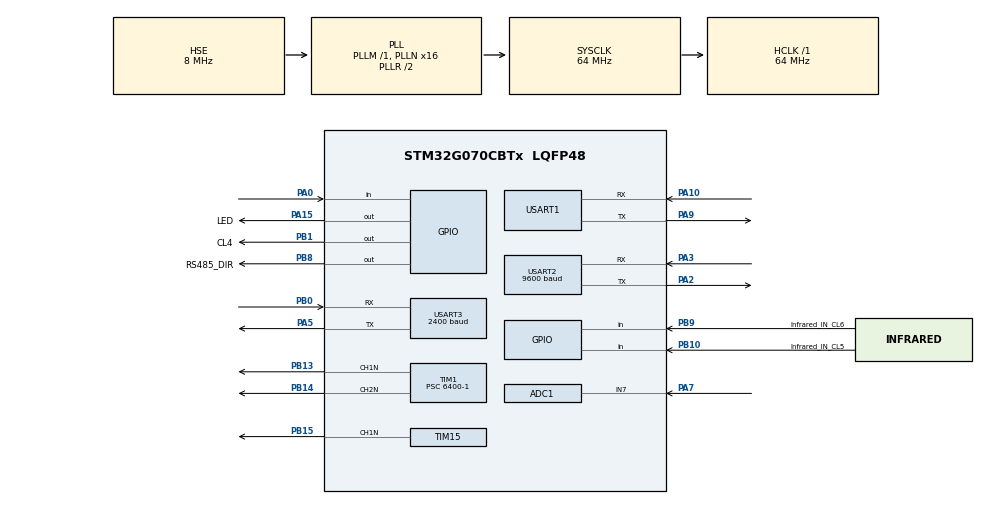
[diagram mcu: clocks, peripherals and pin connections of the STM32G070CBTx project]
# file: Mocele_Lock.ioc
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ADC1.Channel-0\#ChannelRegularConversion=ADC_CHANNEL_7
ADC1.NbrOfConversionFlag=1
ADC1.Rank-0\#ChannelRegularConversion=1
ADC1.SamplingTime-0\#ChannelRegularConversion=ADC_SAMPLINGTIME_COMMON_1
ADC1.SelectedChannel=ADC_CHANNEL_7
ADC1.master=1
FREERTOS.Tasks01=defaultTask,-3,128,IWDG_Task,Default,NULL,Dynamic,NULL,NULL;myTask02,0,128,Main_Task,Default,NULL,Dynamic,NULL,NULL;myTask03,2,200,WuXian_Task,Default,NULL,Dynamic,NULL,NULL;myTask04,1,200,Abnormal_Handle_Task,Default,NULL,Dynamic,NULL,NULL;myTask05,-2,128,BEEP_Task,Default,NULL,Dynamic,NULL,NULL
FREERTOS.configTOTAL_HEAP_SIZE=6144
IWDG.Prescaler=IWDG_PRESCALER_64
IWDG.Reload=2000
Mcu.Family=STM32G0
Mcu.Name=STM32G070CBTx
Mcu.Package=LQFP48
NVIC.ADC1_IRQn=true\:3\:0\:false\:false\:true\:true\:true\:true\:true
NVIC.TIM3_IRQn=true\:3\:0\:false\:false\:true\:false\:false\:true\:true
NVIC.TIM6_IRQn=true\:3\:0\:false\:false\:true\:true\:true\:true\:true
NVIC.TimeBase=TIM3_IRQn
NVIC.TimeBaseIP=TIM3
NVIC.USART2_IRQn=true\:3\:0\:false\:false\:true\:true\:true\:true\:true
NVIC.USART3_4_IRQn=true\:3\:0\:false\:false\:true\:true\:true\:true\:true
PA0.GPIO_PuPd=GPIO_PULLDOWN
PA0.Signal=GPIO_Input
PA10.Mode=Asynchronous
PA10.Signal=USART1_RX
PA13.Mode=Serial_Wire
PA13.Signal=SYS_SWDIO
PA14-BOOT0.Mode=Serial_Wire
PA14-BOOT0.Signal=SYS_SWCLK
PA15.GPIO_Label=LED
PA15.GPIO_Speed=GPIO_SPEED_FREQ_MEDIUM
PA15.PinState=GPIO_PIN_RESET
PA15.Signal=GPIO_Output
PA2.Mode=Asynchronous
PA2.Signal=USART2_TX
PA3.Mode=Asynchronous
PA3.Signal=USART2_RX
PA5.Mode=Asynchronous
PA5.Signal=USART3_TX
PA7.Mode=IN7
PA7.Signal=ADC1_IN7
PA9.Mode=Asynchronous
PA9.Signal=USART1_TX
PB0.Mode=Asynchronous
PB0.Signal=USART3_RX
PB1.GPIO_Label=CL4
PB1.GPIO_Speed=GPIO_SPEED_FREQ_HIGH
PB1.PinState=GPIO_PIN_SET
PB1.Signal=GPIO_Output
PB10.GPIO_Label=Infrared_IN_CL5
PB10.Signal=GPIO_Input
PB13.Mode=PWM Generation1 CH1N
PB13.Signal=TIM1_CH1N
PB14.Mode=PWM Generation2 CH2N
PB14.Signal=TIM1_CH2N
PB15.Mode=PWM Generation1 CH1N
PB15.Signal=TIM15_CH1N
PB8.GPIO_Label=RS485_DIR
PB8.GPIO_Speed=GPIO_SPEED_FREQ_HIGH
PB8.Signal=GPIO_Output
PB9.GPIO_Label=Infrared_IN_CL6
PB9.Signal=GPIO_Input
PF0-OSC_IN\ (PF0).Mode=HSE-External-Oscillator
PF0-OSC_IN\ (PF0).Signal=RCC_OSC_IN
PF1-OSC_OUT\ (PF1).Mode=HSE-External-Oscillator
PF1-OSC_OUT\ (PF1).Signal=RCC_OSC_OUT
ProjectManager.HeapSize=0x200
ProjectManager.StackSize=0x400
ProjectManager.TargetToolchain=MDK-ARM V5.32
RCC.ADCFreq_Value=64000000
RCC.AHBFreq_Value=64000000
RCC.APB1CLKDivider=RCC_HCLK_DIV2
RCC.CortexFreq_Value=64000000
RCC.EXTERNAL_CLOCK_VALUE=48000
RCC.HCLKFreq_Value=64000000
RCC.HSE_VALUE=8000000
RCC.HSI_VALUE=16000000
RCC.LSE_VALUE=32768
RCC.PLLN=16
RCC.PLLSourceVirtual=RCC_PLLSOURCE_HSE
RCC.SYSCLKFreq_VALUE=64000000
RCC.SYSCLKSource=RCC_SYSCLKSOURCE_PLLCLK
RCC.VCOOutputFreq_Value=128000000
TIM1.AutoReloadPreload=TIM_AUTORELOAD_PRELOAD_ENABLE
TIM1.Channel-PWM\ Generation1\ CH1N=TIM_CHANNEL_1
TIM1.Channel-PWM\ Generation2\ CH2N=TIM_CHANNEL_2
TIM1.Period=100-1
TIM1.Prescaler=6400-1
TIM15.Channel-PWM\ Generation1\ CH1N=TIM_CHANNEL_1
TIM15.Period=1000-1
TIM15.Prescaler=64-1
TIM6.Period=10000-1
TIM6.Prescaler=64-1
USART1.VirtualMode-Asynchronous=VM_ASYNC
USART2.BaudRate=9600
USART2.Parity=PARITY_NONE
USART2.VirtualMode-Asynchronous=VM_ASYNC
USART3.BaudRate=2400
USART3.Parity=PARITY_NONE
USART3.VirtualMode-Asynchronous=VM_ASYNC
USART3.WordLength=WORDLENGTH_8B
VP_FREERTOS_VS_CMSIS_V1.Mode=CMSIS_V1
VP_IWDG_VS_IWDG.Mode=IWDG_Activate
VP_SYS_VS_DBSignals.Mode=DisableDeadBatterySignals
VP_SYS_VS_tim3.Mode=TIM3
VP_TIM15_VS_ClockSourceINT.Mode=Internal
VP_TIM1_VS_ClockSourceINT.Mode=Internal
VP_TIM6_VS_ClockSourceINT.Mode=Enable_Timer
board=custom

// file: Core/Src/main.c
/* USER CODE BEGIN Header */
/*
程序名：地锁程序设计
硬件资源：1.主控芯片（G070VBT6），电机驱动芯片（SA8321），测距芯片（RCWL-1655，RCWL-9631，AJ-SR04），电机位置状态监测（红外），通信[无线通信（433M_A），有线通信（RS485）]
主控芯片资源分配：①调试：USART1（PA9,PA10）打印调试信息②指示：指示灯[LED]（PA15）[高电平有效]，蜂鸣器[BEEP]（PB15）[高电平有效]
									③监测：
									1)红外检测电机位置状态：持续检测输出高电平[CL5（PB10）,CL6（PB9）]，输出引脚电平[CL4（PB1）]
									2)测距模块检测车是否离开：USART2（PA2，PA3）[波特率9600]
									④控制：控制地锁的开启，关闭，停止[INA（PB13），INB(PB14)]（PWM）
									⑤通信：
									1)无线通信[SPI][433M_A][SCLK1（PA0），RST(PA1)，MISO1(PB2)，MOSI1（PB11），NSS1（PB12）][SW_CTL1（PB3），SW_CTL2（PB4），BUSY1（PB5），DIO1（PB6），DIO2（PB7）]
									2)有线通信USART3[RX485][RX（PB0），TX（PA5），DIR（PB8）]
									⑥其他：通用定时器（计时），中断
软件程序设计：
(1)程序预期实现效果：
①通过某种通信方式（有线或者无线）接收充电桩下发的指令，根据充电桩下发指令执行相应的动作，并将执行结果上报给充电桩。
②当充电结束新能源汽车驶离后（或者车锁打开后长时间没有车辆进入）主动关闭车锁
③当车锁故障及时给出告警信息，并上报给充电桩
(2)程序实现思路：
①程序上电初始化。
②初始化完成之后，使用FREERTOS建立四个任务：分别为看门狗任务（任务优先级为最高，执行喂狗任务）[指示灯可放至此任务，标识程序是否跑飞]
                                                 异常处理任务（任务优先级仅次于看门狗，时刻监测判断上方是否有车辆覆盖，若无车辆覆盖等待3S则控制电机使车锁处于打开状态，标记车锁状态为打开，蜂鸣器提示归位。通信上报车锁状态。否则控制电机使车锁处于关闭状态，标记车锁状态为关闭，蜂鸣器提示归位。通信正常的时候上报车锁状态。如果车锁标记状态是关闭，并且没有接收到控制指令，监测到车锁状态变化，蜂鸣器给出报警提示，电机控制复位，复位完成报警解除）
																								 通信任务（通过无线或者有线的方式将接收的数据存放到一个数组。）[任务优先级最低]
																								 主函数（定时获取车锁状态，接收执行充电桩控制指令并执行，保持和充电桩的连接和通信）[任务优先级高于通信连接任务]
程序设计信息：
            1.版本V1.0
						2.编辑人：sibo
						3.完成日期：2022.07

*/
/* USER CODE END Header */
#include "main.h"
#include "cmsis_os.h"
#include "adc.h"
#include "iwdg.h"
#include "tim.h"
#include "usart.h"
#include "gpio.h"

/* USER CODE BEGIN Includes */
#include <stdio.h>
/* USER CODE END Includes */

/* USER CODE BEGIN PTD */
  uint8_t pDat;
	uint8_t Rxbuffer[RX3_MAX];
	uint8_t Rxbuffer_1[RX3_MAX_1];
	uint16_t Uart3RxCount=0;
	uint8_t shangdain_flog;
extern	Memory_TypeDef  Info;						           //地址，版本固件结构体
/* USER CODE END PTD */

/* USER CODE BEGIN PD */
extern volatile int32_t SysSec;
extern volatile int32_t SysSec_1;
uint8_t 	SecSend=0;		  //计时 心跳信号	发送
/* USER CODE END PD */

void SystemClock_Config(void);
void MX_FREERTOS_Init(void);

int main(void)
{

  /* MCU Configuration--------------------------------------------------------*/

  /* Reset of all peripherals, Initializes the Flash interface and the Systick. */
  HAL_Init();

  /* Configure the system clock */
  SystemClock_Config();

  /* Initialize all configured peripherals */
  MX_GPIO_Init();
  MX_IWDG_Init();
  MX_TIM6_Init();
  MX_USART1_UART_Init();
  MX_USART2_UART_Init();
  MX_USART3_UART_Init();
  MX_TIM1_Init();
  MX_TIM15_Init();
  MX_ADC1_Init();
  /* USER CODE BEGIN 2 */
  HAL_TIM_Base_Start_IT(&htim6);					    //使能Timer6中断
	HAL_TIMEx_PWMN_Start(&htim1,TIM_CHANNEL_1); //开启PWM通道1，电机驱动
	HAL_TIMEx_PWMN_Start(&htim1,TIM_CHANNEL_2); //开启PWM通道2，电机驱动
	HAL_TIMEx_PWMN_Start(&htim15,TIM_CHANNEL_1);//开启PWM通道3，BEEP
	Peripheral_Init();                          //初始化外设
	Fina();
  HAL_UARTEx_ReceiveToIdle_IT(&huart2,rx2buffer,RX2_MAX);
  TransceiverControl_DJSF1778_S(RECEIVE_FROM_DJSF1778_S);
//  HAL_UARTEx_ReceiveToIdle_IT(&huart3,rx3buffer,RX3_MAX);
  HAL_UART_Receive_IT(&huart3,&pDat,1);
	shangdain_flog=1;
	printf("上电\r\n");
  /* USER CODE END 2 */

  /* Call init function for freertos objects (in freertos.c) */
  MX_FREERTOS_Init();

  /* Start scheduler */
  osKernelStart();

  /* We should never get here as control is now taken by the scheduler */
  /* Infinite loop */
  while (1)
  {

  }
}

void SystemClock_Config(void)
{
  RCC_OscInitTypeDef RCC_OscInitStruct = {0};
  RCC_ClkInitTypeDef RCC_ClkInitStruct = {0};

  /** Configure the main internal regulator output voltage
  */
  HAL_PWREx_ControlVoltageScaling(PWR_REGULATOR_VOLTAGE_SCALE1);

  /** Initializes the RCC Oscillators according to the specified parameters
  * in the RCC_OscInitTypeDef structure.
  */
  RCC_OscInitStruct.OscillatorType = RCC_OSCILLATORTYPE_LSI|RCC_OSCILLATORTYPE_HSE;
  RCC_OscInitStruct.HSEState = RCC_HSE_ON;
  RCC_OscInitStruct.LSIState = RCC_LSI_ON;
  RCC_OscInitStruct.PLL.PLLState = RCC_PLL_ON;
  RCC_OscInitStruct.PLL.PLLSource = RCC_PLLSOURCE_HSE;
  RCC_OscInitStruct.PLL.PLLM = RCC_PLLM_DIV1;
  RCC_OscInitStruct.PLL.PLLN = 16;
  RCC_OscInitStruct.PLL.PLLP = RCC_PLLP_DIV2;
  RCC_OscInitStruct.PLL.PLLR = RCC_PLLR_DIV2;
  if (HAL_RCC_OscConfig(&RCC_OscInitStruct) != HAL_OK)
  {
    Error_Handler();
  }

  /** Initializes the CPU, AHB and APB buses clocks
  */
  RCC_ClkInitStruct.ClockType = RCC_CLOCKTYPE_HCLK|RCC_CLOCKTYPE_SYSCLK
                              |RCC_CLOCKTYPE_PCLK1;
  RCC_ClkInitStruct.SYSCLKSource = RCC_SYSCLKSOURCE_PLLCLK;
  RCC_ClkInitStruct.AHBCLKDivider = RCC_SYSCLK_DIV1;
  RCC_ClkInitStruct.APB1CLKDivider = RCC_HCLK_DIV2;

  if (HAL_RCC_ClockConfig(&RCC_ClkInitStruct, FLASH_LATENCY_2) != HAL_OK)
  {
    Error_Handler();
  }
}

/* USER CODE BEGIN 4 */

void RxScan(void)
{

	Rxbuffer[Uart3RxCount]=pDat;
	if(++Uart3RxCount>=RX3_MAX)  Uart3RxCount=0;

while(HAL_UART_Receive_IT(&huart3,&pDat,1)!=HAL_OK);
}// 重定向串口打印函数

int fputc(int ch, FILE *f)
{
  HAL_UART_Transmit(&huart1, (uint8_t *)&ch, 1, 0xffff);
  return ch;
}

void HAL_UART_RxCpltCallback(UART_HandleTypeDef *huart)
{
	if(huart->Instance ==USART3)
	{
//	  printf("进入中断函数\r\n");
		RxScan();
//		HAL_StatusTypeDef return_state;
//		return_state = HAL_UART_Receive_IT(&huart3,&pDat,1);
//		if(return_state == HAL_BUSY)
//		{
//
//			__HAL_UART_CLEAR_OREFLAG(&huart3);
//			huart3.RxState = HAL_UART_STATE_READY;
//			huart3.Lock=HAL_UNLOCKED;
//		  return_state=HAL_UART_Receive_IT(&huart3,&pDat,1);
//
//
//		}
	}
}

void HAL_UART_ErrorCallback(UART_HandleTypeDef *huart)
{
    /* Prevent unused argument(s) compilation warning */
    // UNUSED(huart);
    /* NOTE: This function should not be modified, when the callback is needed,
the HAL_UART_ErrorCallback could be implemented in the user file
*/
    if( huart->ErrorCode & HAL_UART_ERROR_ORE )//Overflow error
   {
       uint32_t temp = huart->Instance->ISR;
       temp = huart->Instance->RDR;
   }
}

uint8_t  Re485_Scan(void)
{
	uint8_t k=0;
	uint8_t FRAMEHEAD_address=0;
	uint8_t ReciveFirst=1;
	uint8_t i;
	uint8_t findflag=0;
	for(k=0;k<20;k++)
	{
		if((Rxbuffer[k]==0x55)&&(Rxbuffer[k+1]==Info.JIQIHAO))
		{
			if(ReciveFirst){
				ReciveFirst=0;
				FRAMEHEAD_address=k;
			}
			if(Uart3RxCount>=FRAMEHEAD_address+6)
			{
				findflag=1;
				Uart3RxCount=0;
				for(i=0;i<6;i++)
				{
					Rxbuffer_1[i]=Rxbuffer[i+FRAMEHEAD_address];
//					printf("Rxbuffer[%d]=%02x\r\n",i,Rxbuffer[i]);
				}
				for(i=0;i<20;i++)
				{
					Rxbuffer[i]=0;
				}
			}
			k=20;

		}

	}
	return 	findflag;
}
/* USER CODE END 4 */

void HAL_TIM_PeriodElapsedCallback(TIM_HandleTypeDef *htim)
{
  if (htim->Instance == TIM3) {
    HAL_IncTick();
  }
  /* USER CODE BEGIN Callback 1 */
  if (htim->Instance == TIM6){
	  static uint16_t count0=0;  				//函数内部变量10ms自动加1变量
		count0++;

		if(count0%10==0){ 					//每10ms

//			printf("Infrared_Detection()=%02x\r\n",Infrared_Detection());

		}
		if(count0%100==0){ 					//每s

			SysSec++;
			SysSec_1++;

		}
		if(count0>=6000)          //每min
      {
				count0=0;
				if(SecSend!=0xff)
				{
				SecSend++;
				}
			}
	}
  /* USER CODE END Callback 1 */
}

void Error_Handler(void)
{
  __disable_irq();
  while (1)
  {
  }
}

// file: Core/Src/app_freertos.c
/* USER CODE BEGIN Header */
/**
  ******************************************************************************
  * File Name          : app_freertos.c
  * Description        : Code for freertos applications
  ******************************************************************************
  * @attention
  *
  * Copyright (c) 2022 STMicroelectronics.
  * All rights reserved.
  *
  * This software is licensed under terms that can be found in the LICENSE file
  * in the root directory of this software component.
  * If no LICENSE file comes with this software, it is provided AS-IS.
  *
  ******************************************************************************
  */
/* USER CODE END Header */

#include "FreeRTOS.h"
#include "task.h"
#include "main.h"
#include "cmsis_os.h"

/* USER CODE BEGIN Includes */
#include "stdio.h"
#include "adc.h"
/* USER CODE END Includes */

/* USER CODE BEGIN PD */
#define ADC_Stalling 140                    //阻转检测
/* USER CODE END PD */

/* USER CODE BEGIN Variables */
volatile int32_t SysSec=0;                 //计时变量，单位s，只读不取
volatile int32_t SysSec_1=0;                 //计时变量，单位s，只读不取
extern	uint8_t  Lock_Distance_Flag ;      //测试赋3       //车锁距离标示位 0代表车在上方 1代表车已离开锁待升起  2车已离开锁已升起
extern  uint8_t  Lock_Distance_Time;       //车辆离开计时
extern  uint8_t  Lock_Distance_Time_1;     //车辆离开计时
extern	uint8_t  Lock_Distance_Time_2;     //车辆离开计时
extern	uint8_t  Lock_Distance_Time_3;     //车辆离开计时
extern  uint32_t Stalling_Time;            //阻转时间
extern  uint32_t Stalling_Time_1;          //阻转时间
extern  uint32_t Stalling_Time_2;          //阻转时间
extern  uint32_t Stalling_Time_3;          //阻转时间
extern  uint16_t Distance_Value;           //车锁距离车距离返回值
extern  uint16_t pwm1;                     //通道1占空比
extern  uint16_t pwm2;                     //通道2占空比
extern  uint8_t  Lock_Statu_Flag;          //车锁状态标志位 0关闭状态 1正在升起  2已升起 3升起中状态异常（升过了）
extern  uint8_t RX3_Buffer [RX3_MAX];      //串口3接收数组
extern  uint8_t rx3flag;                   //串口3指令接收标志位
uint8_t Instructions;                      //0未收到指令 1收到下降指令，2收到升起指令
uint8_t lock_zhiling_look_flog;            //地锁通讯查询指令 0未收到指令，1收到指令
uint8_t lock_zhiling_look_1_flog;            //地锁通讯查询指令 0未收到指令，1收到指令
uint8_t lock_tongxu_flog=0;                //长时间通讯不上（五分钟左右，降下地锁）（地锁降下后1分钟内通讯不上复位控制板）（地锁关闭状态下，上电一分钟内通讯不上复位控制板）
uint8_t Escalation_Flag;                   //指令执行标志 0未收到指令/执行完毕 1标记收到下降指令 2标记收到上升指令 3下降指令执行遇到阻转，电机上升  4执行上升指令检测到上方有车辆持续两秒，下降地锁  5执行上升指令遇到阻转，电机下降
uint8_t zhiling_Flag;
uint8_t lcok_up_erro_Flag;
uint8_t zhuangtaigaibian_Flag;             //初始赋值0 状态改变为1
uint32_t zhiling_Time;
volatile uint8_t zuzhuan_flog;
uint32_t rester_jishi_time=0;                //通讯故障计时
Memory_TypeDef  Info;						           //地址，版本固件结构体
extern uint8_t 	SecSend;		  //计时 心跳信号	发送
extern	uint8_t Rxbuffer_1[];
extern  uint8_t shangdain_flog;
/* USER CODE END Variables */
osThreadId defaultTaskHandle;
osThreadId myTask02Handle;
osThreadId myTask03Handle;
osThreadId myTask04Handle;
osThreadId myTask05Handle;

void IWDG_Task(void const * argument);
void Main_Task(void const * argument);
void WuXian_Task(void const * argument);
void Abnormal_Handle_Task(void const * argument);
void BEEP_Task(void const * argument);

void MX_FREERTOS_Init(void); /* (MISRA C 2004 rule 8.1) */

void MX_FREERTOS_Init(void) {

  /* Create the thread(s) */
  /* definition and creation of defaultTask */
  osThreadDef(defaultTask, IWDG_Task, osPriorityIdle, 0, 128);
  defaultTaskHandle = osThreadCreate(osThread(defaultTask), NULL);

  /* definition and creation of myTask02 */
  osThreadDef(myTask02, Main_Task, osPriorityNormal, 0, 128);
  myTask02Handle = osThreadCreate(osThread(myTask02), NULL);

  /* definition and creation of myTask03 */
  osThreadDef(myTask03, WuXian_Task, osPriorityHigh, 0, 200);
  myTask03Handle = osThreadCreate(osThread(myTask03), NULL);

  /* definition and creation of myTask04 */
  osThreadDef(myTask04, Abnormal_Handle_Task, osPriorityAboveNormal, 0, 200);
  myTask04Handle = osThreadCreate(osThread(myTask04), NULL);

  /* definition and creation of myTask05 */
  osThreadDef(myTask05, BEEP_Task, osPriorityLow, 0, 128);
  myTask05Handle = osThreadCreate(osThread(myTask05), NULL);

  /* USER CODE BEGIN RTOS_THREADS */
	vTaskSuspend(myTask05Handle);          //挂起蜂鸣器报警任务
//	vTaskSuspend(myTask04Handle);                //挂起异常处理任务
  /* add threads, ... */
  /* USER CODE END RTOS_THREADS */

}

void IWDG_Task(void const * argument)
{
  /* USER CODE BEGIN IWDG_Task */
  /* Infinite loop */
  for(;;)
  {

    osDelay(1200);                                 //延时1.2s
		HAL_GPIO_TogglePin(LED_GPIO_Port, LED_Pin);    //翻转指示灯，用于判断程序运行状态
		IWDG->KR = 0xAAAA;	                           //喂狗

  }
  /* USER CODE END IWDG_Task */
}

void Main_Task(void const * argument)
{
  /* USER CODE BEGIN Main_Task */

  /* Infinite loop */
  for(;;)
  {
		if(Infrared_Detection()==0)          //如果车锁处于已关闭状态
		{
			if(shangdain_flog==1)
			{
				shangdain_flog=0;
				SysSec_1=0;
				zhiling_Time=0;      //上电清零时间？
				zhiling_Flag=0;       //刚上电1分钟内没车，通讯正常升起电机？
				lock_tongxu_flog=0;
			  lcok_up_erro_Flag=0x00;             //已经降锁
				printf("初次上电标记已降锁\r\n");

			}
//		  printf("zuzhuan_flog=%d\r\n",zuzhuan_flog);
//			if(ADC1_GetVaule()<ADC_Stalling)
      if(zuzhuan_flog==0x01)
			{
				RCWL_1655_or_9631_UART_Ranging();  //检测车辆状态
				osDelay(10);                       //等待10ms
				if(Instructions==1)
				{
					Instructions=0;
					Lock_Com_feedback(1,0x25);       //降锁指令完成上报
				}
        if(Instructions==2)
				{
					BEEP_Init();                     //准备升起，告警提示
					Instructions=0;                  //上升指令已执行
					Escalation_Flag=2;               //开始上升
					if(Lock_Distance_Flag==1)
					{
						printf("关闭状态下收到升起指令没有车辆，控制电机升起\r\n");
						MOTOR_SA8321_Control(1);       //没有车辆，控制电机升起
            osDelay(500);

					}
					else
					{

						MOTOR_SA8321_Control(0);       //有车辆停止
						printf("关闭状态下收到升起指令检测到车辆，车辆暂停\r\n");
					}
				}else
        {

					if(Escalation_Flag==2)
					{

						MOTOR_SA8321_Control(1);      //没有车辆，控制电机升起
            osDelay(500);

					}else if(Escalation_Flag==1||Escalation_Flag==3)
					{
						MOTOR_SA8321_Control(2);       //执行下降指令
            osDelay(500);

					}else
          {

						if(zhiling_Flag==1)
						{
//							printf("zhiling_Time=%d\r\n",zhiling_Time);
							if(zhiling_Time++>1000)        //五分钟计时
							{
								zhiling_Time=0;
								zhiling_Flag=0;
								printf("5分钟计时时间到\r\n");
							}
						}
						if(zhiling_Flag==0)
						{
							RCWL_1655_or_9631_UART_Ranging();  //检测车辆状态
							osDelay(10);                       //等待10ms
							if(Lock_Distance_Flag==1)
							{
								if(lock_tongxu_flog==1)
								{
								Lock_Distance_Time++;          //10秒计时，如果持续10秒内无车辆升起车锁

								if(Lock_Distance_Time>150)
								{
									Lock_Distance_Time=0;
									printf("在关闭状态下检测到车辆离开1分钟时间到升起地锁\r\n");
									MOTOR_SA8321_Control(1);     //10秒内若仍没有车辆，控制电机升起
									Escalation_Flag=2;           //升起地锁
									osDelay(500);
								}
								}

							}
							else
							{
								Lock_Distance_Time=0;	         //计时清零
	//							printf("10s时间到检测到车辆计时清零\r\n");
							}
						}
						if(SysSec_1<120)
						{
//							printf("SysSec_1=%d\r\n",SysSec_1);
							if(lock_zhiling_look_1_flog==1)    //如果通讯故障，2分钟复位
							{
								lock_zhiling_look_1_flog=0;
								SysSec_1=0;
							}
						}
            else
						{
						  printf("2分钟通讯异常复位\r\n");
				      __disable_irq();      //关闭所有中断
              NVIC_SystemReset();   //软件复位单片机
						}

						if(lcok_up_erro_Flag==0x01)
						{
							SysSec_1=0;
					  	vTaskResume(myTask05Handle);     //蜂鸣器告警
						}
					}
				}
//      printf("ADC1_GetVaule=%d\r\n",ADC1_GetVaule());
			}else
			{
//      printf("ADC1_GetVaule=%d\r\n",ADC1_GetVaule());
				if(Escalation_Flag==2)             //收到指令上升遇到阻转
				{
					printf("执行上升命令遇到阻转\r\n");
					MOTOR_SA8321_Control(2);         //下降地锁
          Escalation_Flag=3;
				  osDelay(1000);
				}
				if(Escalation_Flag==1||Escalation_Flag==3)
				{
					printf("执行下降命令遇到阻转或者上升遇到阻转，默认地锁归位\r\n");
					BEEP_Init();                     //BEEP初始化
					MOTOR_SA8321_Control(0);           //停止电机
          Escalation_Flag=0;                 //标记下降指令完成
          SysSec_1=0;
          Lock_Statu_Flag=0x01;                 //标记车锁状态
          lcok_up_erro_Flag=0x00;             //已经降锁
					Lock_Com_feedback(1,0x01);       //降锁指令完成上报
					zhiling_Flag=1;
					zhiling_Time=0;
				}

			}
		}

		if((Infrared_Detection()==1))  //如果车锁状态是已开启状态
		{
			SysSec_1=0;
			if(shangdain_flog==1)
			{
				shangdain_flog=0;
			  lcok_up_erro_Flag=0x01;             //已经升锁
        lock_tongxu_flog=1;
			}
//      printf("zuzhuan_flog=%d\r\n",zuzhuan_flog);
//			if(ADC1_GetVaule()<ADC_Stalling)
			if(zuzhuan_flog==0x01)
			{
				if(Instructions==2)
				{
					Instructions=0;
					Lock_Com_feedback(1,0x26); //升锁指令完成
				}
//				if(Instructions==1)
			if(Instructions==1||(lock_tongxu_flog!=1))          //如果收到下降指令  //通讯故障下降地锁
				{

					BEEP_Init();               //准备下降，告警提示
					Instructions=0;            //下降指令已执行
					Escalation_Flag=1;         //标记收到指令下降
					MOTOR_SA8321_Control(2);   //下降电机
					osDelay(500);
					printf("开启状态收到下降指令下降电机\r\n");
				}else
				{
					if(Escalation_Flag==1||Escalation_Flag==3)
					{
					  MOTOR_SA8321_Control(2);   //下降电机
				  	osDelay(500);
					}else if(Escalation_Flag==2)
					{
						MOTOR_SA8321_Control(1);      //没有车辆，控制电机升起
            osDelay(500);
					}else
					{
						if(lcok_up_erro_Flag==0x01)
						{
					  		vTaskSuspend(myTask05Handle);          //挂起蜂鸣器报警任务
								BEEP_Abnormal(0);                  //关闭蜂鸣器

						}
					}

				}
//       printf("ADC1_GetVaule=%d\r\n",ADC1_GetVaule());
			}else
			{
//				printf("ADC1_GetVaule=%d\r\n",ADC1_GetVaule());
				if(Escalation_Flag==1)
				{
					printf("执行下降指令遇到阻转\r\n");
					MOTOR_SA8321_Control(2);   //下降电机
					osDelay(500);
				}
				if(Escalation_Flag==2)
				{
					printf("执行上升指令遇到阻转默认电机开启归位\r\n");
					BEEP_Abnormal(0);            //关闭蜂鸣器
					MOTOR_SA8321_Control(0);     //停止电机
					Lock_Statu_Flag=0x00;        //锁已升起
					Escalation_Flag=0;           //标记上升完成
					lcok_up_erro_Flag=0x01;      //已经升锁
					BEEP_Init();                 //BEEP初始化
					Lock_Com_feedback(1,0x26); //升锁指令完成
					printf("开启状态升锁锁指令完成上报\r\n");
				}
			}

		}

    osDelay(100);
  }
  /* USER CODE END Main_Task */
}

void WuXian_Task(void const * argument)
{
  /* USER CODE BEGIN WuXian_Task */
//	uint8_t i;
  /* Infinite loop */
  for(;;)
  {

		if(Re485_Scan())
		{
//			for(i=0;i<RX3_MAX_1;i++)
//			{
//			printf("Rxbuffer_1[%d]=%02x\r\n",i,Rxbuffer_1[i]);
//
//			}

			switch(Rxbuffer_1[3]) //判断指令
			{

				case 0x25:          //降锁指令
				  Instructions=1;
					printf("降锁指令\r\n");
					break;
				case 0x26:          //升锁指令
				  Instructions=2;
					printf("升锁指令\r\n");
					break;
				case 0x03:          //休眠指令
					Lock_Com_feedback(1,0x03);
					printf("休眠指令\r\n");
					break;
				case 0x04:          //唤醒指令
					Lock_Com_feedback(1,0x04);
					printf("唤醒指令\r\n");
					break;
				case 0x21:          //查询地锁状态指令
					lock_zhiling_look_flog=1;
				  lock_zhiling_look_1_flog=1;
					Lock_Statu_Send();  //向服务器发送地锁状态
					printf("查询地锁状态指令\r\n");
					break;
				case 0x06:          //写地址命令
          Address_Send();
				  Info.JIQIHAO=RX3_Buffer[1];
					STMFLASH_Write(InfoAddr,(uint64_t *)&Info,sizeof(Info)/8);
				  printf("写地址指令\r\n");
					break;
				case 0x07:          //读地址命令
				  STMFLASH_Read(InfoAddr,(uint64_t *)&Info,sizeof(Info)/8);
				  Read_Add();
					 printf("读地址指令\r\n");
					break;
				case 0x08:          //波特率设置命令
					 printf("波特率设置\r\n");
					break;
				case 0x09:          //报警命令
					printf("报警指令\r\n");
					break;
				case 0x0A:          //地锁版本读取命令
					STMFLASH_Read(InfoAddr,(uint64_t *)&Info,sizeof(Info)/8);
				  Read_Version();
				  printf("地锁版本读取\r\n");
					break;
				case 0x0B:          //复位命令
					printf("复位指令\r\n");
					__disable_irq();      //关闭所有中断
          NVIC_SystemReset();   //软件复位单片机
					break;

			}

		}

		if(SecSend>10)   //如果在开启或者关闭状态每10分钟上报状态
		{
			SecSend=0;
			if(Lock_Statu_Flag==0x01)
			{
			Lock_Com_feedback(1,0x25);

			}
			if(Lock_Statu_Flag==0x00)
			{
			Lock_Com_feedback(1,0x26); //升锁指令完成

			}

		}
		if(SysSec<300)  //五分钟计时
		{
//			printf("SysSec=%d\r\n",SysSec);
			if(lock_zhiling_look_flog==1)
			{
				lock_zhiling_look_flog=0;
				lock_tongxu_flog=1;
//			  printf("SysSec=%d\r\n",SysSec);
				SysSec=0;
			}

		}else
		{
			SysSec=0;
			lock_tongxu_flog=0;
		}

    osDelay(200);
  }
  /* USER CODE END WuXian_Task */
}

void Abnormal_Handle_Task(void const * argument)
{
  /* USER CODE BEGIN Abnormal_Handle_Task */
  /* Infinite loop */
  for(;;)
  {

		if(ADC1_GetVaule()>ADC_Stalling)
		{
			zuzhuan_flog=0x00;
//		  printf("异常值ADC1_GetVaule=%d\r\n",ADC1_GetVaule());
			ADC1_GetVaule();
      osDelay(500);
		}else
		{
			printf("ADC1_GetVaule=%d\r\n",ADC1_GetVaule());        //不要注释掉
			zuzhuan_flog=0x01;
//			ADC1_GetVaule();
		}

//		if(ADC1_GetVaule()>ADC_Stalling)
//		{
//			zuzhuan_flog=0x00;
//		  printf("异常值ADC1_GetVaule=%d\r\n",ADC1_GetVaule());
//
//		}else
//		{
//			if(++i>5)       //阻转后暂时不刷新
//			{
//				i=0;
//			  zuzhuan_flog=0x01;
//				printf("ADC1_GetVaule=%d\r\n",ADC1_GetVaule());
//			}
//		}

//		printf("异常告警任务\r\n");
    osDelay(50);
  }
  /* USER CODE END Abnormal_Handle_Task */
}

void BEEP_Task(void const * argument)
{
  /* USER CODE BEGIN BEEP_Task */
  /* Infinite loop */
  for(;;)
  {
			MX_TIM15_Init();
			HAL_TIMEx_PWMN_Start(&htim15,TIM_CHANNEL_1);
			__HAL_TIM_SetCompare(&htim15, TIM_CHANNEL_1,900);            //BEEP响
			osDelay(100);
			MX_TIM15_Init_1(2000);
			HAL_TIMEx_PWMN_Start(&htim15,TIM_CHANNEL_1);
			__HAL_TIM_SetCompare(&htim15, TIM_CHANNEL_1,900);            //BEEP响
//		  printf("蜂鸣器任务\r\n");
			osDelay(200);
  }
  /* USER CODE END BEEP_Task */
}
